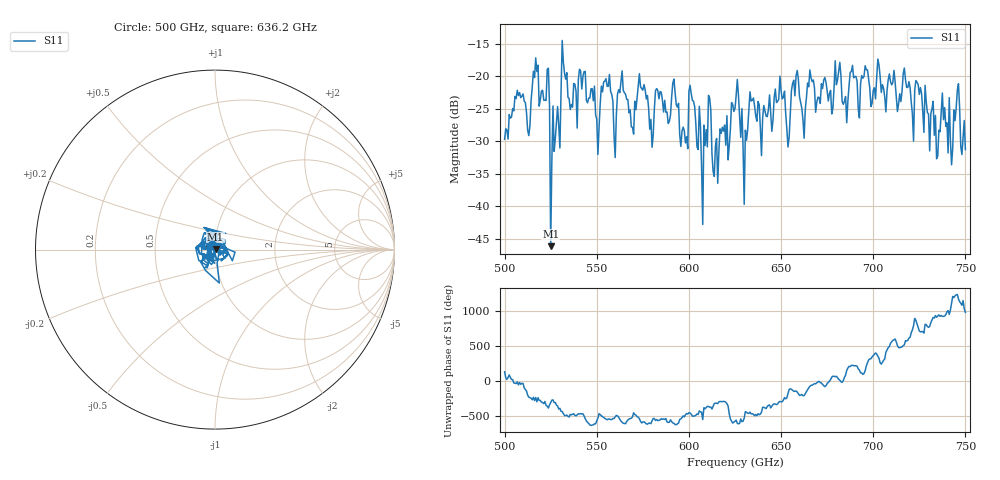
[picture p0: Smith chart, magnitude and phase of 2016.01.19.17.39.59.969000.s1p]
!Created with skrf (http://scikit-rf.org).
# GHz S RI R 50.0
!freq ReS11 ImS11
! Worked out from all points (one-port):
!   401 points, 500 GHz to 750 GHz, reference 50 ohm
!   lowest |S11| = -46.1 dB at 525 GHz (marker M1), VSWR 1.01, Z = 50.4 + j0.349 ohm
!   |S11| at or under -10 dB: start of sweep to end of sweep
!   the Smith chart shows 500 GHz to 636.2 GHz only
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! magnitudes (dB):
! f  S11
! 500 GHz  -29.7
! 506.9 GHz  -22.2
! 513.1 GHz  -29.1
! 516.9 GHz  -17.2
! 523.1 GHz  -19.0
! 525 GHz  -46.1
! 526.2 GHz  -24.6
! 531.2 GHz  -14.5
! 550.6 GHz  -32.0
! 562.5 GHz  -22.5
! 568.8 GHz  -27.8
! 573.8 GHz  -21.6
! 579.4 GHz  -26.6
! 593.8 GHz  -24.8
! 598.1 GHz  -30.3
! 601.2 GHz  -22.7
! 608.1 GHz  -27.5
! 610.6 GHz  -23.0
! 614.4 GHz  -30.8
! 625 GHz  -25.0
! 630.6 GHz  -28.3
! 633.8 GHz  -23.8
! 650.6 GHz  -23.5
! 653.8 GHz  -30.9
! 656.2 GHz  -21.1
! 687.5 GHz  -19.4
! 718.8 GHz  -21.7
! 750 GHz  -31.3
